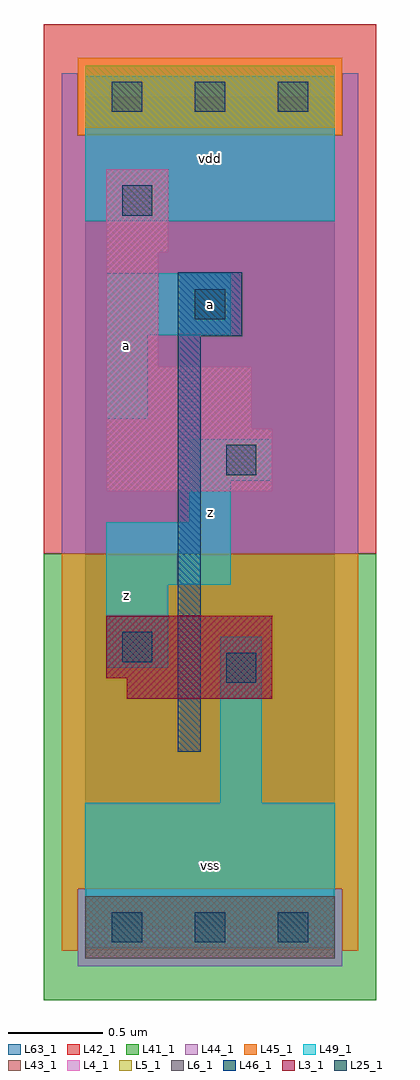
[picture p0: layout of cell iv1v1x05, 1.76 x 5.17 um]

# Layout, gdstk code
import gdstk
lib = gdstk.Library(unit=1e-6, precision=1e-09)
def R(c, l, rs):  # rectangles x0, y0, x1, y1
    for r in rs: c.add(gdstk.rectangle(r[:2], r[2:], *l))
def A(c, l, x, y, w, h, nx, ny, dx, dy):  # array of equal rectangles
    R(c, l, [(x+i*dx, y+j*dy, x+i*dx+w, y+j*dy+h) for i in range(nx) for j in range(ny)])
L3_1 = (3, 1)
L4_1 = (4, 1)
L5_1 = (5, 1)
L6_1 = (6, 1)
L25_1 = (25, 1)
L41_1 = (41, 1)
L42_1 = (42, 1)
L43_1 = (43, 1)
L44_1 = (44, 1)
L45_1 = (45, 1)
L46_1 = (46, 1)
L49_1 = (49, 1)
L63_1 = (63, 1)

iv1v1x05 = lib.new_cell('iv1v1x05')
R(iv1v1x05, L3_1, [(0.22,1.21,0.99,1.32), (0.11,1.32,0.99,1.65)])
R(iv1v1x05, L4_1, [(0.11,2.31,0.99,2.64), (0.11,2.64,0.88,2.97), (0.11,2.97,0.385,3.575), (0.11,3.575,0.44,4.015)])
R(iv1v1x05, L5_1, [(0,4.235,1.32,4.565)])
R(iv1v1x05, L6_1, [(0,-0.165,1.32,0.165)])
A(iv1v1x05, L25_1, 0.14, -0.08, 0.16, 0.16, 3, 2, 0.44, 4.4)
R(iv1v1x05, L25_1, [(0.745,1.295,0.905,1.455), (0.195,1.405,0.355,1.565), (0.745,2.395,0.905,2.555), (0.58,3.22,0.74,3.38), (0.195,3.77,0.355,3.93)])
R(iv1v1x05, L41_1, [(-0.22,-0.385,1.54,1.98)])
R(iv1v1x05, L42_1, [(-0.22,1.98,1.54,4.785)])
R(iv1v1x05, L43_1, [(0,-0.165,1.32,0.165), (0.22,1.21,0.99,1.32), (0.11,1.32,0.99,1.65), (0.11,2.31,0.99,2.64), (0.11,2.64,0.88,2.97), (0.11,2.97,0.385,3.575), (0.11,3.575,0.44,4.015), (0,4.235,1.32,4.565)])
R(iv1v1x05, L44_1, [(-0.04,-0.205,1.36,0.205), (-0.125,1.98,1.445,4.195), (-0.125,4.195,-0.04,4.525), (1.36,4.195,1.445,4.525)])
R(iv1v1x05, L45_1, [(-0.125,-0.125,-0.04,0.205), (1.36,-0.125,1.445,0.205), (-0.125,0.205,1.445,1.98), (-0.04,4.195,1.36,4.605)])
R(iv1v1x05, L46_1, [(0.49,0.93,0.61,3.13), (0.49,3.13,0.83,3.47)])
R(iv1v1x05, L49_1, [(0,-0.11,1.32,0.66), (0.715,0.66,0.935,1.54), (0.11,1.375,0.44,1.815), (0.11,1.815,0.77,2.145), (0.55,2.145,0.77,2.365), (0.55,2.365,0.99,2.585), (0.11,2.695,0.33,3.135), (0.11,3.135,0.77,3.465), (0,3.74,1.32,4.51)])
R(iv1v1x05, L63_1, [(0,0,1.32,4.4)])
iv1v1x05.add(gdstk.Label('z', (0.22,1.76), layer=49, texttype=1))
iv1v1x05.add(gdstk.Label('a', (0.22,3.08), layer=49, texttype=1))
iv1v1x05.add(gdstk.Label('vss', (0.66,0.33), layer=49, texttype=1))
iv1v1x05.add(gdstk.Label('z', (0.66,2.2), layer=49, texttype=1))
iv1v1x05.add(gdstk.Label('a', (0.66,3.3), layer=49, texttype=1))
iv1v1x05.add(gdstk.Label('vdd', (0.66,4.07), layer=49, texttype=1))

lib.write_gds('iv1v1x05.gds')
